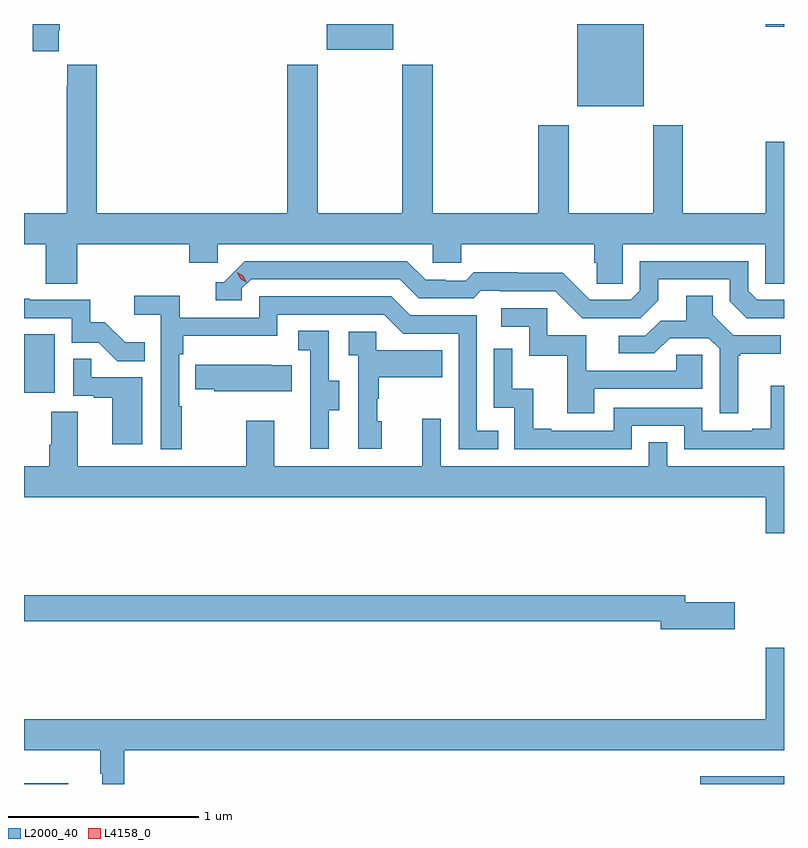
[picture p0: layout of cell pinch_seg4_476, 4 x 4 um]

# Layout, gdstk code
import gdstk
lib = gdstk.Library(unit=1e-6, precision=1e-09)
def R(c, l, rs):  # rectangles x0, y0, x1, y1
    for r in rs: c.add(gdstk.rectangle(r[:2], r[2:], *l))
def P(c, l, *ps):  # polygons
    for p in ps: c.add(gdstk.Polygon(p, *l))
L2000_40 = (2000, 40)
L4158_0 = (4158, 0)

pinch_seg4_476 = lib.new_cell('pinch_seg4_476')
R(pinch_seg4_476, L2000_40, [(928.337,754.019,928.57,754.024), (931.896,754.019,932.337,754.06), (928.337,756.078,928.498,756.385), (931.25,757.586,931.6,758.019), (929.93,757.883,930.28,758.019), (932.24,758.004,932.337,758.019)])
P(pinch_seg4_476, L2000_40, [(928.519,757.987),(928.526,757.987),(928.526,758.019),(928.382,758.019),(928.382,757.875),(928.519,757.875)],
  [(928.616,756.86),(929.207,756.86),(929.207,756.762),(929.358,756.762),(929.358,756.86),(930.489,756.86),(930.489,756.762),(930.639,756.762),(930.639,756.86),(931.337,756.86),(931.337,756.762),(931.351,756.762),(931.351,756.652),(931.488,756.652),(931.488,756.86),(932.238,756.86),(932.238,756.652),(932.337,756.652),(932.337,757.399),(932.24,757.399),(932.24,757.024),(931.803,757.024),(931.803,757.486),(931.648,757.486),(931.648,757.024),(931.203,757.024),(931.203,757.486),(931.043,757.486),(931.043,757.024),(930.488,757.024),(930.488,757.804),(930.328,757.804),(930.328,757.024),(929.883,757.024),(929.883,757.804),(929.723,757.804),(929.723,757.024),(928.721,757.024),(928.721,757.804),(928.565,757.804),(928.565,757.691),(928.561,757.691),(928.561,757.024),(928.337,757.024),(928.337,756.86),(928.451,756.86),(928.451,756.652),(928.616,756.652)],
  [(931.675,756.565),(931.675,756.675),(932.052,756.675),(932.052,756.561),(932.142,756.471),(932.337,756.471),(932.337,756.567),(932.196,756.567),(932.148,756.615),(932.148,756.771),(931.578,756.771),(931.578,756.615),(931.53,756.567),(931.314,756.567),(931.172,756.709),(930.936,756.709),(930.936,756.712),(930.703,756.712),(930.661,756.669),(930.558,756.669),(930.558,756.672),(930.451,756.672),(930.352,756.771),(929.499,756.771),(929.388,756.66),(929.345,756.66),(929.345,756.564),(929.484,756.564),(929.484,756.627),(929.532,756.675),(930.315,756.675),(930.414,756.576),(930.703,756.576),(930.742,756.615),(930.841,756.615),(930.841,756.612),(931.134,756.612),(931.275,756.471),(931.581,756.471)],
  [(932.095,756.273),(932.107,756.273),(932.107,756.284),(932.32,756.284),(932.32,756.381),(932.07,756.381),(931.963,756.488),(931.963,756.59),(931.823,756.59),(931.823,756.458),(931.688,756.458),(931.608,756.378),(931.467,756.378),(931.467,756.285),(931.654,756.285),(931.735,756.366),(931.941,756.366),(931.998,756.309),(931.998,755.97),(932.095,755.97)],
  [(929.167,756.008),(929.154,756.008),(929.154,756.281),(929.174,756.281),(929.174,756.377),(929.67,756.377),(929.67,756.489),(930.234,756.489),(930.333,756.39),(930.624,756.39),(930.624,755.781),(930.833,755.781),(930.833,755.877),(930.72,755.877),(930.72,756.486),(930.37,756.486),(930.271,756.585),(929.574,756.585),(929.574,756.474),(929.156,756.474),(929.156,756.59),(928.917,756.59),(928.917,756.488),(929.058,756.488),(929.058,755.781),(929.167,755.781)],
  [(928.973,756.343),(928.869,756.343),(928.762,756.45),(928.686,756.45),(928.686,756.567),(928.367,756.567),(928.367,756.572),(928.337,756.572),(928.337,756.471),(928.587,756.471),(928.587,756.342),(928.731,756.342),(928.829,756.244),(928.973,756.244)],
  [(931.339,756.099),(931.908,756.099),(931.908,756.279),(931.771,756.279),(931.771,756.195),(931.297,756.195),(931.297,756.381),(931.092,756.381),(931.092,756.522),(930.849,756.522),(930.849,756.426),(930.996,756.426),(930.996,756.273),(931.195,756.273),(931.195,755.97),(931.339,755.97)],
  [(929.941,755.986),(929.995,755.986),(929.995,756.141),(929.94,756.141),(929.94,756.404),(929.781,756.404),(929.781,756.301),(929.844,756.301),(929.844,755.997),(929.843,755.997),(929.843,755.784),(929.941,755.784)],
  [(930.22,755.928),(930.195,755.928),(930.195,756.047),(930.205,756.047),(930.205,756.161),(930.539,756.161),(930.539,756.301),(930.192,756.301),(930.192,756.399),(930.045,756.399),(930.045,756.275),(930.096,756.275),(930.096,755.784),(930.22,755.784)],
  [(931.536,755.904),(931.812,755.904),(931.812,755.781),(932.337,755.781),(932.337,756.115),(932.267,756.115),(932.267,755.89),(932.171,755.89),(932.171,755.877),(931.908,755.877),(931.908,756),(931.44,756),(931.44,755.877),(931.111,755.877),(931.111,755.89),(931.016,755.89),(931.016,756.098),(930.906,756.098),(930.906,756.31),(930.81,756.31),(930.81,756),(930.918,756),(930.918,755.781),(931.536,755.781)],
  [(928.96,756.159),(928.691,756.159),(928.691,756.257),(928.596,756.257),(928.596,756.063),(928.703,756.063),(928.703,756.051),(928.802,756.051),(928.802,755.808),(928.96,755.808)],
  [(929.747,756.223),(929.639,756.223),(929.639,756.226),(929.239,756.226),(929.239,756.097),(929.337,756.097),(929.337,756.086),(929.747,756.086)],
  [(931.722,755.819),(931.626,755.819),(931.626,755.692),(930.531,755.692),(930.531,755.941),(930.434,755.941),(930.434,755.692),(929.653,755.692),(929.653,755.932),(929.506,755.932),(929.506,755.692),(928.621,755.692),(928.621,755.978),(928.481,755.978),(928.481,755.804),(928.469,755.804),(928.469,755.692),(928.337,755.692),(928.337,755.528),(932.24,755.528),(932.24,755.34),(932.337,755.34),(932.337,755.692),(931.722,755.692)],
  [(932.077,754.976),(931.816,754.976),(931.816,755.012),(928.337,755.012),(928.337,754.876),(931.688,754.876),(931.688,754.834),(932.077,754.834)],
  [(928.865,754.196),(932.337,754.196),(932.337,754.735),(932.24,754.735),(932.24,754.36),(928.337,754.36),(928.337,754.196),(928.737,754.196),(928.737,754.073),(928.748,754.073),(928.748,754.019),(928.865,754.019)])
P(pinch_seg4_476, L4158_0, [(929.507,756.66),(929.476,756.679),(929.46,756.712),(929.46,756.712),(929.46,756.712),(929.491,756.693),(929.507,756.66),(929.507,756.66)])

lib.write_gds('pinch_seg4_476.gds')
